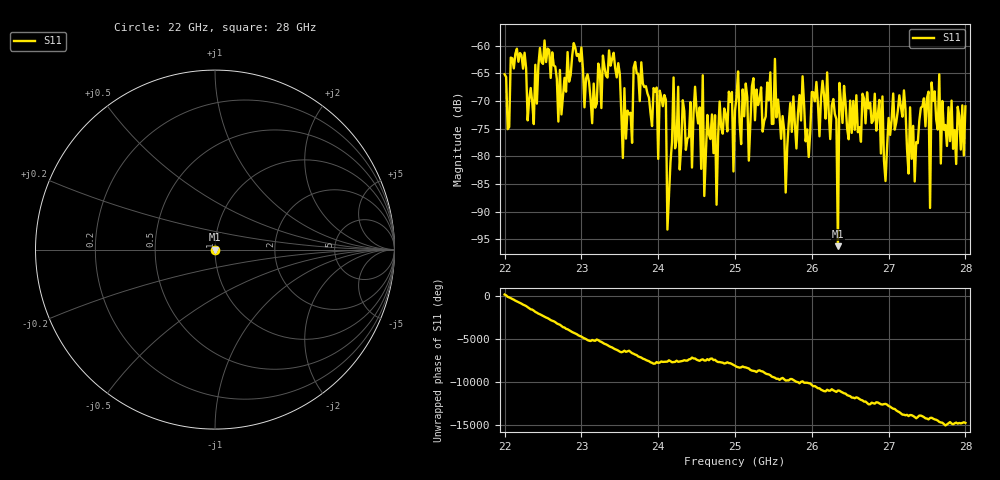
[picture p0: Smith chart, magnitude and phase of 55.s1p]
#  HZ  S  RI  R  50.00
! Rohde & Schwarz ZVA40 4Ports - Version 3.90 - 1145.1110k42 SN: 100403
! Date: 2023-10-04 07:51:59
! Measurement: S12
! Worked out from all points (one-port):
!   301 points, 22 GHz to 28 GHz, reference 50 ohm
!   lowest |S11| = -96.2 dB at 26.34 GHz (marker M1), VSWR 1.00, Z = 50 + j0.00117 ohm
!   |S11| at or under -10 dB: start of sweep to end of sweep
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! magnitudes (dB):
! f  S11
! 22 GHz  -65.1
! 22.76 GHz  -69.2
! 23.5 GHz  -65.1
! 23.54 GHz  -80.3
! 23.7 GHz  -62.9
! 23.98 GHz  -67.6
! 24 GHz  -80.4
! 24.02 GHz  -68.1
! 24.16 GHz  -81.0
! 24.26 GHz  -67.4
! 24.28 GHz  -82.4
! 24.48 GHz  -67.4
! 24.56 GHz  -82.2
! 24.58 GHz  -65.3
! 24.6 GHz  -87.1
! 25 GHz  -71.7
! 25.52 GHz  -62.4
! 25.66 GHz  -86.5
! 25.76 GHz  -69.1
! 25.96 GHz  -80.1
! 26.2 GHz  -64.8
! 26.34 GHz  -96.2
! 26.36 GHz  -66.7
! 26.5 GHz  -69.9
! 26.96 GHz  -84.4
! 27.2 GHz  -68.1
! 27.26 GHz  -83.1
! 28 GHz  -70.9
